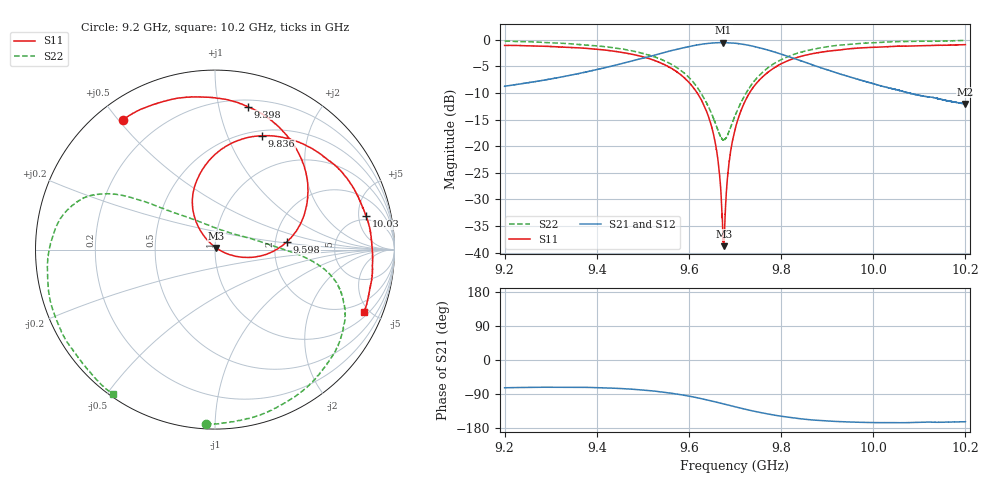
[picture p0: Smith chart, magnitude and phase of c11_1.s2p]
!Agilent Technologies,N5242A,MY51221714,A.09.90.19
!Agilent N5242A: A.09.90.19
!Date: Saturday, December 30, 2023 10:42:53
!Correction: S11(Full 2 Port(1,2))
!S21(Full 2 Port(1,2))
!S12(Full 2 Port(1,2))
!S22(Full 2 Port(1,2))
!S2P File: Measurements: S11, S21, S12, S22:
# Hz S  dB  R 50
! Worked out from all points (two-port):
!   16001 points, 9.2 GHz to 10.2 GHz, reference 50 ohm
!   highest |S21| = -0.51 dB at 9.675 GHz (marker M1); lowest = -12.1 dB at 10.2 GHz (marker M2)
!   |S21| within 3 dB of the highest: 9.496955 GHz to 9.497239 GHz (283.6 kHz wide, 0.00299 % of centre); 9.497 GHz to 9.828 GHz (331.1 MHz wide, 3.43 % of centre)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
!   lowest |S11| = -38.8 dB at 9.675 GHz (marker M3), VSWR 1.02, Z = 50.6 + j0.964 ohm
!   |S11| at or under -10 dB: 9.618 GHz to 9.731 GHz (113.4 MHz wide, 1.17 % of centre)
!   |S22| runs from -18.9 to -0.1 dB; largest |S21 - S12| = 0.015
!   S11 on the Smith chart (normalised r, x): 9.2 GHz: 0.08, +0.51; 9.398 GHz: 0.25, +1.22; 9.598 GHz: 2.33, +0.25; 9.836 GHz: 0.56, +1.34; 10.03 GHz: 4.33, +6.27; 10.2 GHz: 1.24, -4.64
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9.2e9  -1.05 125.4  -8.72 -73.3  -8.69 -74.1  -0.22 -92.9
9.277938e9  -1.19 107.5  -7.68 -72.0  -7.66 -72.6  -0.45 -71.6
9.366688e9  -1.54 85.5  -6.23 -72.1  -6.21 -72.9  -0.91 -48.7
9.397562e9  -1.75 77.1  -5.63 -72.8  -5.61 -73.6  -1.11 -40.9
9.533375e9  -4.15 33.5  -2.68 -83.1  -2.67 -83.8  -3.46 -13.3
9.5985e9  -7.86 6.3  -1.30 -95.0  -1.29 -95.7  -6.94 -2.7
9.629562e9  -11.74 -7.7  -0.80 -102.7  -0.79 -103.5  -10.48 5.7
9.65125e9  -16.99 -16.8  -0.60 -108.8  -0.58 -109.5  -14.27 20.2
9.6635e9  -22.94 -18.6  -0.53 -112.4  -0.52 -113.1  -17.11 38.0
9.67475e9  -38.04 35.0  -0.51 -115.7  -0.51 -116.4  -18.78 68.7
9.675438e9  -38.77 55.7  -0.52 -115.9  -0.50 -116.6  -18.84 70.4
9.678375e9  -33.37 110.0  -0.52 -116.8  -0.51 -117.5  -18.70 80.3
9.687562e9  -22.80 129.1  -0.56 -119.6  -0.53 -120.3  -17.10 104.1
9.7e9  -16.91 126.8  -0.63 -123.4  -0.61 -124.1  -14.31 122.4
9.74825e9  -7.97 104.7  -1.38 -136.8  -1.37 -137.7  -7.09 144.6
9.83625e9  -3.28 67.6  -3.75 -154.2  -3.73 -154.9  -2.49 156.3
9.866688e9  -2.62 56.9  -4.66 -158.1  -4.65 -158.8  -1.82 160.6
9.95e9  -1.67 32.4  -6.99 -163.6  -6.98 -164.3  -0.83 175.9
1.003069e10  -1.28 12.4  -8.96 -165.3  -8.94 -166.0  -0.40 -166.7
1.003338e10  -1.27 11.7  -9.01 -165.3  -9.01 -166.1  -0.40 -166.0
1.019994e10  -0.91 -22.8  -12.06 -163.0  -12.05 -163.8  -0.13 -125.3
1.02e10  -0.90 -22.8  -12.05 -162.9  -12.04 -163.9  -0.12 -125.3
